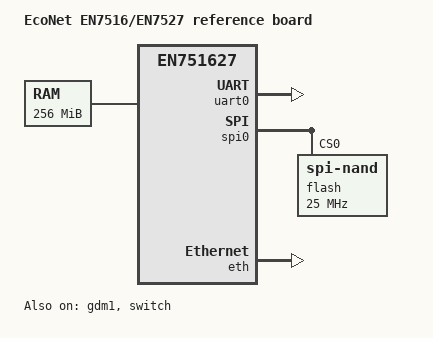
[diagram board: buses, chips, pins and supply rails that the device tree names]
// SPDX-License-Identifier: GPL-2.0+
/* Generic cold-boot reference target; adapt flash type and wiring to the board. */
/dts-v1/;
#include "econet,en751627.dtsi"

/ {
	model = "EcoNet EN7516/EN7527 reference board";
	compatible = "econet,en751627-reference", "econet,en751627", "airoha,en751627";
	memory@0 {
		device_type = "memory";
		/* Placeholder; dram_init uses the vendor calibrated size. */
		reg = <0x00000000 0x10000000>;
	};

	chosen {
		stdout-path = "serial0:115200n8";
	};
};

&uart0 {
	status = "okay";
};

&spi0 {
	status = "okay";

	flash@0 {
		compatible = "spi-nand";
		reg = <0>;
		spi-max-frequency = <25000000>;
		spi-tx-bus-width = <1>;
		spi-rx-bus-width = <1>;
	};
};

&eth {
	status = "okay";
};

&gdm1 {
	status = "okay";
};

&switch {
	status = "okay";
};
